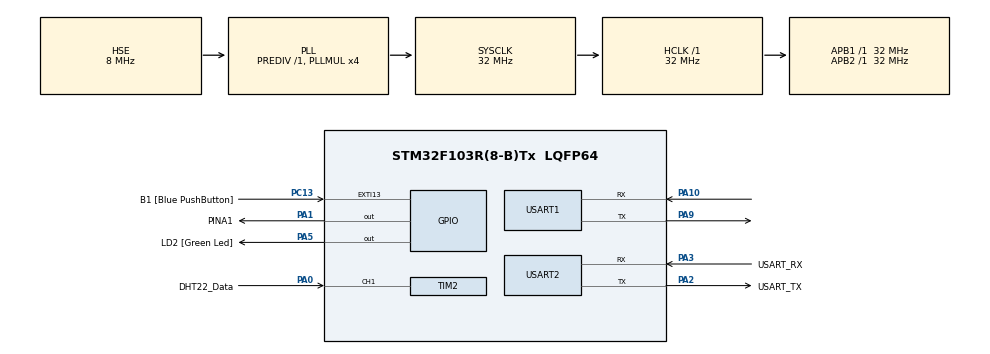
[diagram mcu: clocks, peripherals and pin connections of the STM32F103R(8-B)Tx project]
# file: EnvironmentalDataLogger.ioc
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Dma.Request0=USART2_TX
Dma.Request1=TIM2_CH1
Dma.Request2=USART1_TX
Dma.TIM2_CH1.1.Direction=DMA_PERIPH_TO_MEMORY
Dma.TIM2_CH1.1.Instance=DMA1_Channel5
Dma.TIM2_CH1.1.MemDataAlignment=DMA_MDATAALIGN_HALFWORD
Dma.TIM2_CH1.1.MemInc=DMA_MINC_ENABLE
Dma.TIM2_CH1.1.Mode=DMA_NORMAL
Dma.TIM2_CH1.1.PeriphDataAlignment=DMA_PDATAALIGN_HALFWORD
Dma.TIM2_CH1.1.PeriphInc=DMA_PINC_DISABLE
Dma.TIM2_CH1.1.Priority=DMA_PRIORITY_LOW
Dma.USART1_TX.2.Direction=DMA_MEMORY_TO_PERIPH
Dma.USART1_TX.2.Instance=DMA1_Channel4
Dma.USART1_TX.2.MemDataAlignment=DMA_MDATAALIGN_BYTE
Dma.USART1_TX.2.MemInc=DMA_MINC_ENABLE
Dma.USART1_TX.2.Mode=DMA_NORMAL
Dma.USART1_TX.2.PeriphDataAlignment=DMA_PDATAALIGN_BYTE
Dma.USART1_TX.2.PeriphInc=DMA_PINC_DISABLE
Dma.USART1_TX.2.Priority=DMA_PRIORITY_LOW
Dma.USART2_TX.0.Direction=DMA_MEMORY_TO_PERIPH
Dma.USART2_TX.0.Instance=DMA1_Channel7
Dma.USART2_TX.0.MemDataAlignment=DMA_MDATAALIGN_BYTE
Dma.USART2_TX.0.MemInc=DMA_MINC_ENABLE
Dma.USART2_TX.0.Mode=DMA_NORMAL
Dma.USART2_TX.0.PeriphDataAlignment=DMA_PDATAALIGN_BYTE
Dma.USART2_TX.0.PeriphInc=DMA_PINC_DISABLE
Dma.USART2_TX.0.Priority=DMA_PRIORITY_LOW
Mcu.Family=STM32F1
Mcu.Name=STM32F103R(8-B)Tx
Mcu.Package=LQFP64
NVIC.DMA1_Channel4_IRQn=true\:0\:0\:false\:false\:true\:false\:true\:true
NVIC.DMA1_Channel5_IRQn=true\:0\:0\:false\:false\:true\:false\:true\:true
NVIC.DMA1_Channel7_IRQn=true\:0\:0\:false\:false\:true\:false\:true\:true
NVIC.PriorityGroup=NVIC_PRIORITYGROUP_4
NVIC.TIM2_IRQn=true\:0\:0\:false\:false\:true\:true\:true\:true
NVIC.USART1_IRQn=true\:0\:0\:false\:false\:true\:true\:true\:true
NVIC.USART2_IRQn=true\:0\:0\:false\:false\:true\:true\:true\:true
PA0-WKUP.GPIO_Label=DHT22_Data
PA0-WKUP.Signal=S_TIM2_CH1_ETR
PA1.GPIO_Label=PINA1
PA1.Signal=GPIO_Output
PA10.Mode=Asynchronous
PA10.Signal=USART1_RX
PA13.GPIO_Label=TMS
PA13.Mode=Serial_Wire
PA13.Signal=SYS_JTMS-SWDIO
PA14.GPIO_Label=TCK
PA14.Mode=Serial_Wire
PA14.Signal=SYS_JTCK-SWCLK
PA2.GPIO_Label=USART_TX
PA2.GPIO_Mode=GPIO_MODE_AF_PP
PA2.GPIO_PuPd=GPIO_NOPULL
PA2.GPIO_Speed=GPIO_SPEED_FREQ_LOW
PA2.Mode=Asynchronous
PA2.Signal=USART2_TX
PA3.GPIO_Label=USART_RX
PA3.GPIO_Mode=GPIO_MODE_AF_PP
PA3.GPIO_PuPd=GPIO_NOPULL
PA3.GPIO_Speed=GPIO_SPEED_FREQ_LOW
PA3.Mode=Asynchronous
PA3.Signal=USART2_RX
PA5.GPIO_Label=LD2 [Green Led]
PA5.GPIO_ModeDefaultOutputPP=GPIO_MODE_OUTPUT_PP
PA5.GPIO_PuPd=GPIO_NOPULL
PA5.GPIO_Speed=GPIO_SPEED_FREQ_LOW
PA5.Signal=GPIO_Output
PA9.Mode=Asynchronous
PA9.Signal=USART1_TX
PB3.GPIO_Label=SWO
PB3.Signal=SYS_JTDO-TRACESWO
PC13-TAMPER-RTC.GPIO_Label=B1 [Blue PushButton]
PC13-TAMPER-RTC.GPIO_PuPd=GPIO_NOPULL
PC13-TAMPER-RTC.Signal=GPXTI13
PC14-OSC32_IN.Signal=RCC_OSC32_IN
PC15-OSC32_OUT.Signal=RCC_OSC32_OUT
PD0-OSC_IN.Mode=HSE-External-Oscillator
PD0-OSC_IN.Signal=RCC_OSC_IN
PD1-OSC_OUT.Mode=HSE-External-Oscillator
PD1-OSC_OUT.Signal=RCC_OSC_OUT
ProjectManager.HeapSize=0x00
ProjectManager.StackSize=0x400
ProjectManager.TargetToolchain=CMake
RCC.AHBFreq_Value=32000000
RCC.APB1Freq_Value=32000000
RCC.APB1TimFreq_Value=32000000
RCC.APB2Freq_Value=32000000
RCC.APB2TimFreq_Value=32000000
RCC.HCLKFreq_Value=32000000
RCC.PLLMUL=RCC_PLL_MUL4
RCC.PLLSourceVirtual=RCC_PLLSOURCE_HSE
RCC.RTCClockSelection=RCC_RTCCLKSOURCE_LSE
RCC.SYSCLKFreq_VALUE=32000000
RCC.SYSCLKSource=RCC_SYSCLKSOURCE_PLLCLK
RCC.USBFreq_Value=32000000
SH.S_TIM2_CH1_ETR.0=TIM2_CH1,Input_Capture1_from_TI1
TIM2.AutoReloadPreload=TIM_AUTORELOAD_PRELOAD_DISABLE
TIM2.Channel-Input_Capture1_from_TI1=TIM_CHANNEL_1
TIM2.Channel-Output\ Compare2\ No\ Output=TIM_CHANNEL_2
TIM2.Channel-Output\ Compare3\ No\ Output=TIM_CHANNEL_3
TIM2.ICPolarity_CH1=TIM_INPUTCHANNELPOLARITY_FALLING
TIM2.Period=40000-1
TIM2.Prescaler=32-1
TIM2.Pulse-Output\ Compare2\ No\ Output=5000
TIM2.Pulse-Output\ Compare3\ No\ Output=25000
USART1.VirtualMode=VM_ASYNC
USART2.VirtualMode=VM_ASYNC
VP_TIM2_VS_ClockSourceINT.Mode=Internal
VP_TIM2_VS_no_output2.Mode=Output Compare2 No Output
VP_TIM2_VS_no_output3.Mode=Output Compare3 No Output
board=NUCLEO-F103RB

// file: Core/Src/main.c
/* USER CODE BEGIN Header */
/**
  ******************************************************************************
  * @file           : main.c
  * @brief          : Main program body
  ******************************************************************************
  * @attention
  *
  * Copyright (c) 2024 STMicroelectronics.
  * All rights reserved.
  *
  * This software is licensed under terms that can be found in the LICENSE file
  * in the root directory of this software component.
  * If no LICENSE file comes with this software, it is provided AS-IS.
  *
  ******************************************************************************
  */
/* USER CODE END Header */
#include "main.h"
#include "dma.h"
#include "tim.h"
#include "usart.h"
#include "gpio.h"

/* USER CODE BEGIN Includes */
#include <string.h>
#include "dht22.h"

/* USER CODE END Includes */

/* USER CODE BEGIN PV */
#define ENVIRONMENT_DATA_REPLY_SIZE 5

typedef union{
	uint8_t buffer[ENVIRONMENT_DATA_REPLY_SIZE];
	// packet structure
  struct {
    uint8_t   status;
		uint16_t  humidity;
    int16_t temperature;
  } __attribute__((packed));
  ;
}EnvironmentDataReply_t;

EnvironmentDataReply_t dth22_data;

uint8_t receive_buffer[1];
/* USER CODE END PV */

void SystemClock_Config(void);

/* USER CODE BEGIN 0 */

void HAL_UART_RxCpltCallback(UART_HandleTypeDef *huart){
    if(huart->Instance == USART1){
        // initiate DTH22 reading sequence
        DHT22_Start();
    }
}

void HAL_UART_TxCpltCallback(UART_HandleTypeDef *huart){
    if(huart->Instance == USART1){
        // Start listening on uart1.
        HAL_UART_Receive_IT(&huart1, receive_buffer, 1);
    }
}

void DHT22_DataReadyCallback(uint16_t humidity, int16_t temperature){
    dth22_data.status = DHT22_ERROR_NO_ERROR;
    dth22_data.humidity = humidity;
    dth22_data.temperature = temperature;

    // transmit received humidity and temperature in little endian order.
    HAL_StatusTypeDef hal_status = HAL_UART_Transmit_DMA(&huart1, dth22_data.buffer, ENVIRONMENT_DATA_REPLY_SIZE);
    if(hal_status != HAL_OK){
        // Unexpected UART State. It has to be free for transmission.
        Error_Handler();
    }
}

void DHT22_ErrorCallback(DHT22_ErrorCodes_t error){
    // let the caller know that an error has occurred
    dth22_data.status = error;

    // HAL_StatusTypeDef hal_status = HAL_UART_Transmit_DMA(&huart1, "ERROR\r\n", 7);

    // transmit received humidity and temperature in little endian order.
    HAL_StatusTypeDef hal_status = HAL_UART_Transmit_DMA(&huart1, dth22_data.buffer, ENVIRONMENT_DATA_REPLY_SIZE);
    if(hal_status != HAL_OK){
        // Unexpected UART State. It has to be free for transmission.
        Error_Handler();
    }
}

/* USER CODE END 0 */

int main(void)
{

  /* MCU Configuration--------------------------------------------------------*/

  /* Reset of all peripherals, Initializes the Flash interface and the Systick. */
  HAL_Init();

  /* Configure the system clock */
  SystemClock_Config();

  /* Initialize all configured peripherals */
  MX_GPIO_Init();
  MX_DMA_Init();
  MX_USART2_UART_Init();
  MX_TIM2_Init();
  MX_USART1_UART_Init();

  /* Infinite loop */
  /* USER CODE BEGIN WHILE */

	// Start the uart to listen to.
	HAL_UART_Receive_IT(&huart1, receive_buffer, 1);

	HAL_SuspendTick();
	HAL_PWR_EnableSleepOnExit ();
	//	  Enter Sleep Mode , wake up is done once User push-button is pressed
	HAL_PWR_EnterSLEEPMode(PWR_MAINREGULATOR_ON, PWR_SLEEPENTRY_WFI);
	// We should not reach this point!
	// Error_Handler();
	while (1)
	{
  /* USER CODE END WHILE */

  /* USER CODE BEGIN 3 */
		HAL_SuspendTick();
		HAL_PWR_EnterSLEEPMode(PWR_LOWPOWERREGULATOR_ON, PWR_SLEEPENTRY_WFI);
		HAL_ResumeTick();
	}
  /* USER CODE END 3 */
}

void SystemClock_Config(void)
{
  RCC_OscInitTypeDef RCC_OscInitStruct = {0};
  RCC_ClkInitTypeDef RCC_ClkInitStruct = {0};

  /** Initializes the RCC Oscillators according to the specified parameters
  * in the RCC_OscInitTypeDef structure.
  */
  RCC_OscInitStruct.OscillatorType = RCC_OSCILLATORTYPE_HSE;
  RCC_OscInitStruct.HSEState = RCC_HSE_ON;
  RCC_OscInitStruct.HSEPredivValue = RCC_HSE_PREDIV_DIV1;
  RCC_OscInitStruct.HSIState = RCC_HSI_ON;
  RCC_OscInitStruct.PLL.PLLState = RCC_PLL_ON;
  RCC_OscInitStruct.PLL.PLLSource = RCC_PLLSOURCE_HSE;
  RCC_OscInitStruct.PLL.PLLMUL = RCC_PLL_MUL4;
  if (HAL_RCC_OscConfig(&RCC_OscInitStruct) != HAL_OK)
  {
    Error_Handler();
  }

  /** Initializes the CPU, AHB and APB buses clocks
  */
  RCC_ClkInitStruct.ClockType = RCC_CLOCKTYPE_HCLK|RCC_CLOCKTYPE_SYSCLK
                              |RCC_CLOCKTYPE_PCLK1|RCC_CLOCKTYPE_PCLK2;
  RCC_ClkInitStruct.SYSCLKSource = RCC_SYSCLKSOURCE_PLLCLK;
  RCC_ClkInitStruct.AHBCLKDivider = RCC_SYSCLK_DIV1;
  RCC_ClkInitStruct.APB1CLKDivider = RCC_HCLK_DIV1;
  RCC_ClkInitStruct.APB2CLKDivider = RCC_HCLK_DIV1;

  if (HAL_RCC_ClockConfig(&RCC_ClkInitStruct, FLASH_LATENCY_1) != HAL_OK)
  {
    Error_Handler();
  }
}

void Error_Handler(void)
{
  __disable_irq();
  while (1)
  {
  }
}
